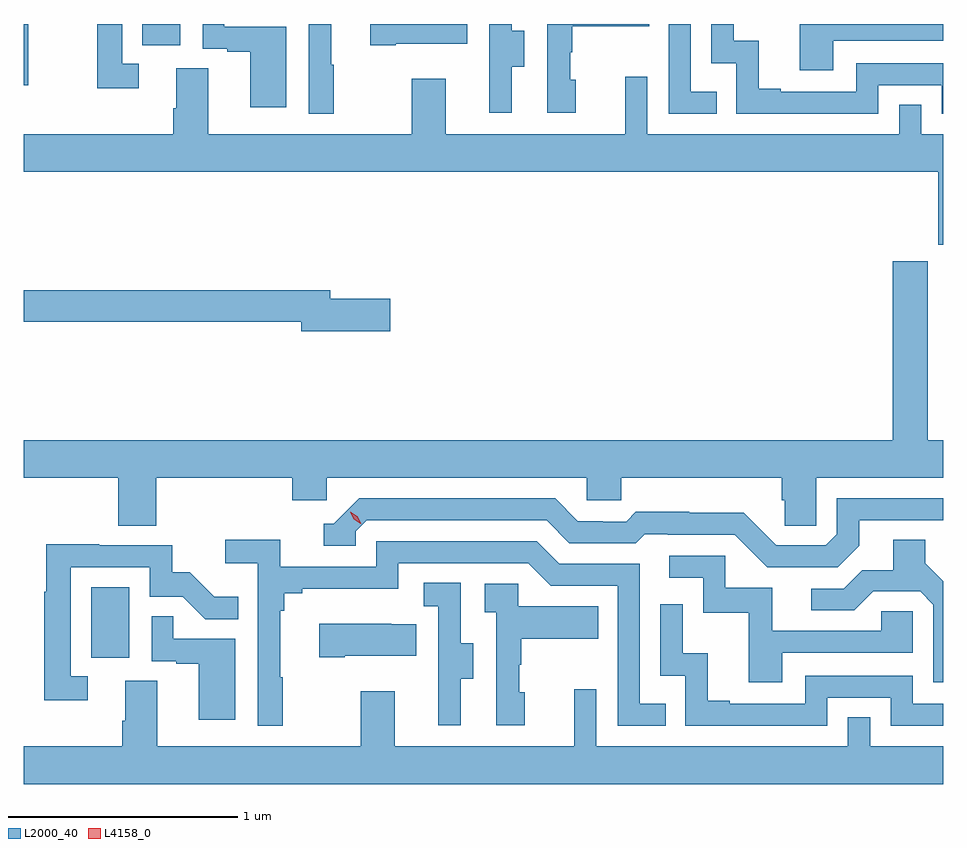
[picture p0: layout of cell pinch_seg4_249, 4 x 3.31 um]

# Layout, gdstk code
import gdstk
lib = gdstk.Library(unit=1e-6, precision=1e-09)
def R(c, l, rs):  # rectangles x0, y0, x1, y1
    for r in rs: c.add(gdstk.rectangle(r[:2], r[2:], *l))
def P(c, l, *ps):  # polygons
    for p in ps: c.add(gdstk.Polygon(p, *l))
L2000_40 = (2000, 40)
L4158_0 = (4158, 0)

pinch_seg4_249 = lib.new_cell('pinch_seg4_249')
R(pinch_seg4_249, L2000_40, [(951.422,825.342,951.586,825.649), (951.128,827.832,951.148,828.099), (951.644,828.006,951.808,828.099)])
P(pinch_seg4_249, L2000_40, [(954.649,828.027),(955.128,828.027),(955.128,828.099),(954.505,828.099),(954.505,827.898),(954.649,827.898)],
  [(951.628,827.925),(951.555,827.925),(951.555,828.099),(951.447,828.099),(951.447,827.82),(951.628,827.82)],
  [(952.747,828.014),(953.057,828.014),(953.057,828.099),(952.635,828.099),(952.635,828.007),(952.747,828.007)],
  [(952.27,828.087),(952.001,828.087),(952.001,828.099),(951.906,828.099),(951.906,827.991),(952.013,827.991),(952.013,827.979),(952.112,827.979),(952.112,827.736),(952.27,827.736)],
  [(954.846,827.832),(955.122,827.832),(955.122,827.709),(955.128,827.709),(955.128,827.928),(954.75,827.928),(954.75,827.805),(954.421,827.805),(954.421,827.818),(954.326,827.818),(954.326,828.026),(954.216,828.026),(954.216,828.099),(954.12,828.099),(954.12,827.928),(954.228,827.928),(954.228,827.709),(954.846,827.709)],
  [(953.53,827.856),(953.505,827.856),(953.505,827.975),(953.515,827.975),(953.515,828.089),(953.849,828.089),(953.849,828.099),(953.406,828.099),(953.406,827.712),(953.53,827.712)],
  [(952.477,827.921),(952.465,827.921),(952.465,828.099),(952.368,828.099),(952.368,827.709),(952.477,827.709)],
  [(953.251,827.914),(953.305,827.914),(953.305,828.069),(953.25,828.069),(953.25,828.099),(953.154,828.099),(953.154,827.925),(953.153,827.925),(953.153,827.712),(953.251,827.712)],
  [(954.143,827.805),(954.03,827.805),(954.03,828.099),(953.934,828.099),(953.934,827.709),(954.143,827.709)],
  [(955.128,827.62),(955.032,827.62),(955.032,827.747),(954.936,827.747),(954.936,827.62),(953.841,827.62),(953.841,827.869),(953.744,827.869),(953.744,827.62),(952.963,827.62),(952.963,827.86),(952.816,827.86),(952.816,827.62),(951.931,827.62),(951.931,827.906),(951.791,827.906),(951.791,827.732),(951.779,827.732),(951.779,827.62),(951.128,827.62),(951.128,827.456),(955.106,827.456),(955.106,827.139),(955.128,827.139)],
  [(951.704,826.124),(952.295,826.124),(952.295,826.026),(952.446,826.026),(952.446,826.124),(953.577,826.124),(953.577,826.026),(953.727,826.026),(953.727,826.124),(954.425,826.124),(954.425,826.026),(954.439,826.026),(954.439,825.916),(954.576,825.916),(954.576,826.124),(955.128,826.124),(955.128,826.288),(955.06,826.288),(955.06,827.067),(954.908,827.067),(954.908,826.288),(951.128,826.288),(951.128,826.124),(951.539,826.124),(951.539,825.916),(951.704,825.916)],
  [(952.723,826.904),(952.462,826.904),(952.462,826.94),(951.128,826.94),(951.128,826.804),(952.334,826.804),(952.334,826.762),(952.723,826.762)],
  [(954.763,825.829),(954.763,825.939),(955.128,825.939),(955.128,826.035),(954.666,826.035),(954.666,825.879),(954.618,825.831),(954.402,825.831),(954.26,825.973),(954.024,825.973),(954.024,825.976),(953.791,825.976),(953.749,825.933),(953.646,825.933),(953.646,825.936),(953.539,825.936),(953.44,826.035),(952.587,826.035),(952.476,825.924),(952.433,825.924),(952.433,825.828),(952.572,825.828),(952.572,825.891),(952.62,825.939),(953.403,825.939),(953.502,825.84),(953.791,825.84),(953.83,825.879),(953.929,825.879),(953.929,825.876),(954.222,825.876),(954.363,825.735),(954.669,825.735)],
  [(952.255,825.257),(952.243,825.257),(952.243,825.545),(952.262,825.545),(952.262,825.622),(952.339,825.622),(952.339,825.641),(952.758,825.641),(952.758,825.753),(953.322,825.753),(953.421,825.654),(953.712,825.654),(953.712,825.045),(953.921,825.045),(953.921,825.141),(953.808,825.141),(953.808,825.75),(953.458,825.75),(953.359,825.849),(952.662,825.849),(952.662,825.738),(952.244,825.738),(952.244,825.854),(952.005,825.854),(952.005,825.752),(952.146,825.752),(952.146,825.045),(952.255,825.045)],
  [(955.128,825.675),(955.051,825.752),(955.051,825.854),(954.911,825.854),(954.911,825.722),(954.776,825.722),(954.696,825.642),(954.555,825.642),(954.555,825.549),(954.742,825.549),(954.823,825.63),(955.029,825.63),(955.086,825.573),(955.086,825.234),(955.128,825.234)],
  [(951.406,825.261),(951.333,825.261),(951.333,825.735),(951.675,825.735),(951.675,825.606),(951.819,825.606),(951.917,825.508),(952.061,825.508),(952.061,825.607),(951.957,825.607),(951.85,825.714),(951.774,825.714),(951.774,825.831),(951.455,825.831),(951.455,825.836),(951.225,825.836),(951.225,825.628),(951.217,825.628),(951.217,825.156),(951.406,825.156)],
  [(954.427,825.363),(954.996,825.363),(954.996,825.543),(954.859,825.543),(954.859,825.459),(954.385,825.459),(954.385,825.645),(954.18,825.645),(954.18,825.786),(953.937,825.786),(953.937,825.69),(954.084,825.69),(954.084,825.537),(954.283,825.537),(954.283,825.234),(954.427,825.234)],
  [(953.029,825.25),(953.083,825.25),(953.083,825.405),(953.028,825.405),(953.028,825.668),(952.869,825.668),(952.869,825.565),(952.932,825.565),(952.932,825.261),(952.931,825.261),(952.931,825.048),(953.029,825.048)],
  [(953.308,825.192),(953.283,825.192),(953.283,825.311),(953.293,825.311),(953.293,825.425),(953.627,825.425),(953.627,825.565),(953.28,825.565),(953.28,825.663),(953.133,825.663),(953.133,825.539),(953.184,825.539),(953.184,825.048),(953.308,825.048)],
  [(954.624,825.168),(954.9,825.168),(954.9,825.045),(955.128,825.045),(955.128,825.141),(954.996,825.141),(954.996,825.264),(954.528,825.264),(954.528,825.141),(954.199,825.141),(954.199,825.154),(954.104,825.154),(954.104,825.362),(953.994,825.362),(953.994,825.574),(953.898,825.574),(953.898,825.264),(954.006,825.264),(954.006,825.045),(954.624,825.045)],
  [(952.048,825.423),(951.779,825.423),(951.779,825.521),(951.684,825.521),(951.684,825.327),(951.791,825.327),(951.791,825.315),(951.89,825.315),(951.89,825.072),(952.048,825.072)],
  [(952.525,825.35),(952.835,825.35),(952.835,825.487),(952.727,825.487),(952.727,825.49),(952.413,825.49),(952.413,825.343),(952.525,825.343)],
  [(955.128,824.956),(954.81,824.956),(954.81,825.083),(954.714,825.083),(954.714,824.956),(953.619,824.956),(953.619,825.205),(953.522,825.205),(953.522,824.956),(952.741,824.956),(952.741,825.196),(952.594,825.196),(952.594,824.956),(951.709,824.956),(951.709,825.242),(951.569,825.242),(951.569,825.068),(951.557,825.068),(951.557,824.956),(951.128,824.956),(951.128,824.792),(955.128,824.792)])
P(pinch_seg4_249, L4158_0, [(952.594,825.924),(952.564,825.944),(952.549,825.977),(952.549,825.977),(952.549,825.977),(952.579,825.957),(952.595,825.924),(952.595,825.924)])

lib.write_gds('pinch_seg4_249.gds')
